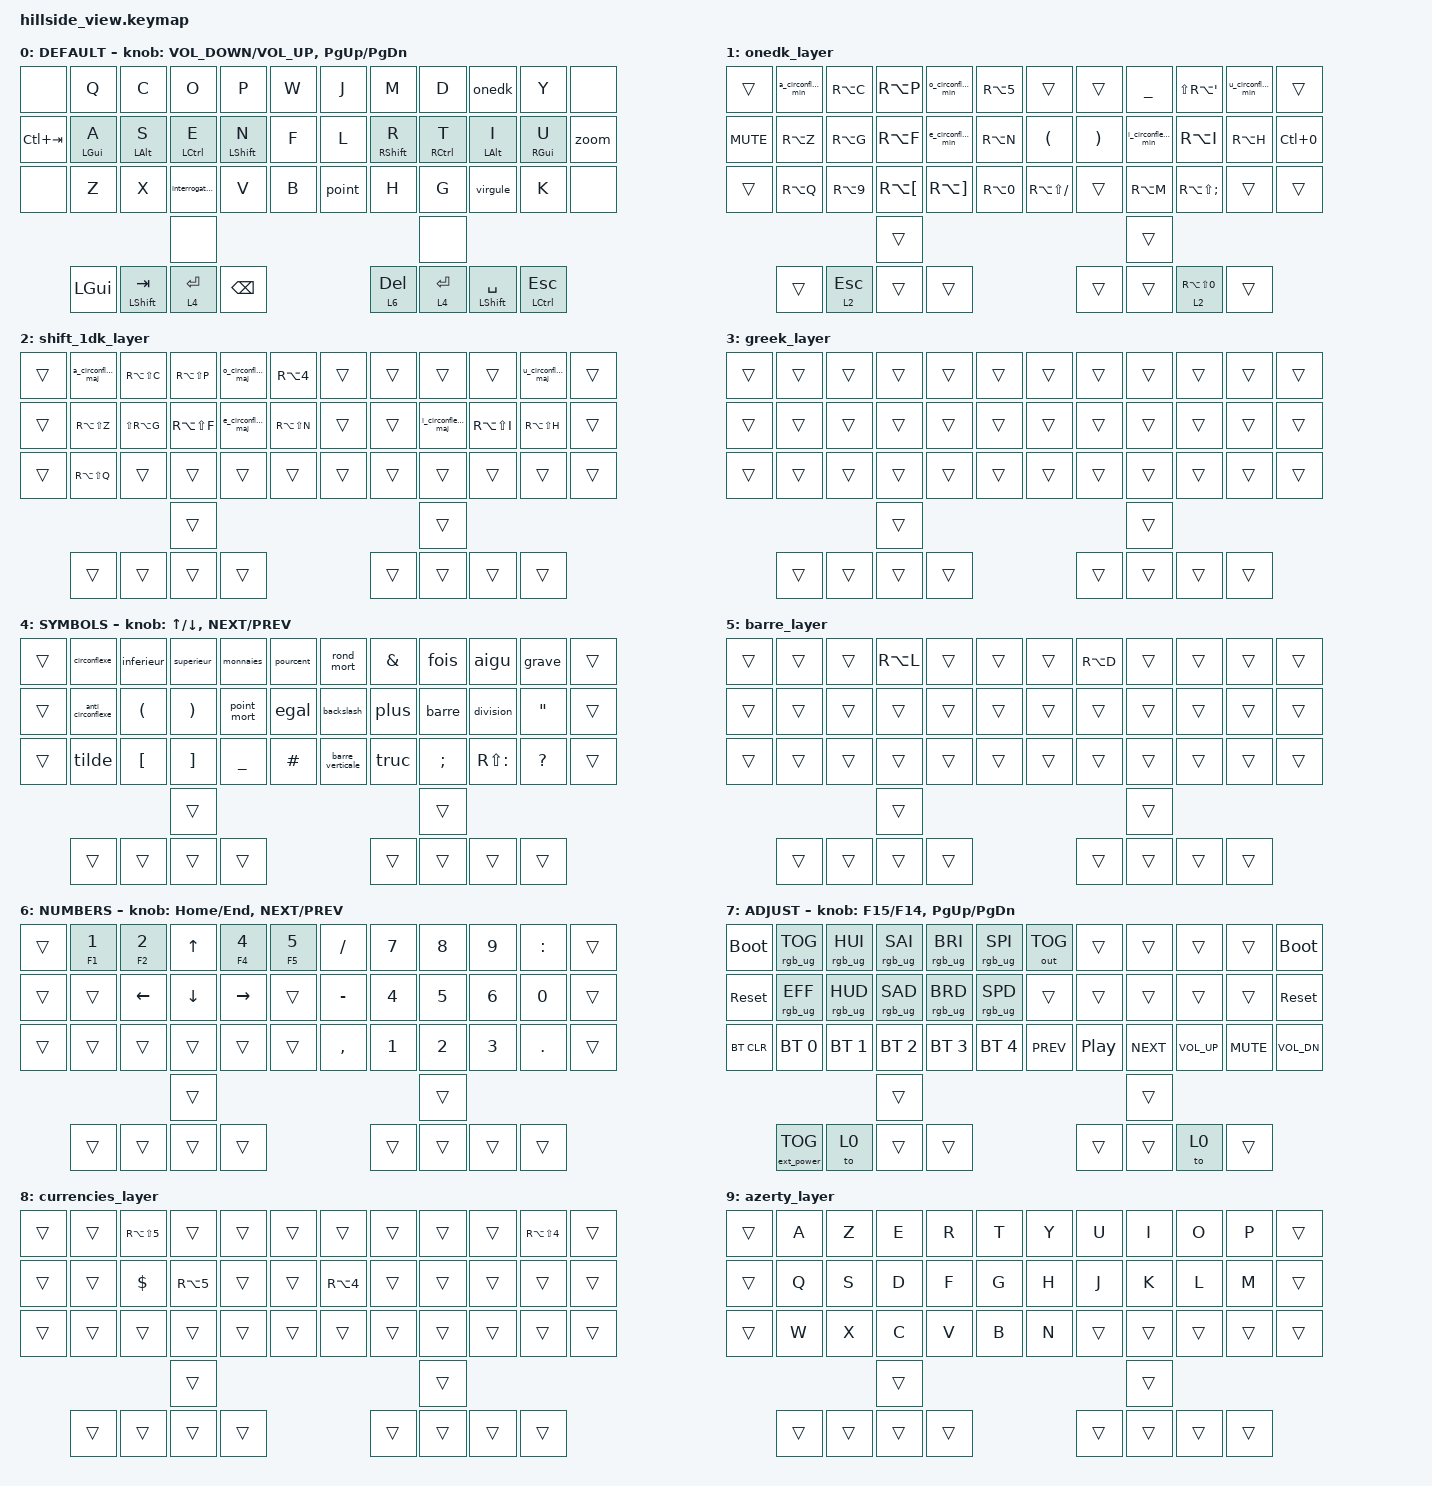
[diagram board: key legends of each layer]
#include "helper.h"
#include <behaviors.dtsi>
#include <dt-bindings/zmk/bt.h>
#include <dt-bindings/zmk/ext_power.h>
#include <dt-bindings/zmk/keys.h>
#include <dt-bindings/zmk/outputs.h>
#include <dt-bindings/zmk/rgb.h>
#include "hillside46.h"

#define QUICK_TAP_MS 175

#define KEYS_L LT0 LT1 LT2 LT3 LT4 LM0 LM1 LM2 LM3 LM4 LB0 LB1 LB2 LB3 LB4  // left hand
#define KEYS_R RT0 RT1 RT2 RT3 RT4 RM0 RM1 RM2 RM3 RM4 RB0 RB1 RB2 RB3 RB4  // right hand
#ifndef LH2
    #define THUMBS LH1 LH0 RH0 RH1                                          // thumbs on 34 keys
#else
    #define THUMBS LH2 LH1 LH0 RH0 RH1 RH2                                  // thumbs on 36+ keys
#endif

#define MAKE_HRM(NAME, HOLD, TAP, TRIGGER_POS) \
    ZMK_HOLD_TAP(NAME, \
        flavor = "balanced"; \
        tapping-term-ms = <280>; \
        quick-tap-ms = <QUICK_TAP_MS>; \
        require-prior-idle-ms = <150>; \
        bindings = <HOLD>, <TAP>; \
        hold-trigger-key-positions = <TRIGGER_POS>; \
        hold-trigger-on-release; \
    )
MAKE_HRM(hml, &kp, &kp, KEYS_R THUMBS)  // left-hand HRMs
MAKE_HRM(hmr, &kp, &kp, KEYS_L THUMBS)  // right-hand HRMs



#ifndef LB5

#define LB5 24

#endif

// Right bottom row pinky 2nd column
#ifndef RB5

#define RB5 35

#endif

#define DEF 0
#define WIN 1
#define SWP 2
#define SYM 3
#define NUM 4
#define ADJ 5

&sk {
    release-after-ms = <600>;
    quick-release;
};

/ {
    conditional_layers {
        compatible = "zmk,conditional-layers";

        tri_layer {
            if-layers = <4 6>;
            then-layer = <7>;
        };
    };

    combos {
        compatible = "zmk,combos";

        // symbols

        cb_excl {
            bindings = <&kp EXCL>;
            key-positions = <1 13>;
            timeout-ms = <30>;
        };

        cb_at {
            bindings = <&kp AT>;
            key-positions = <2 14>;
            timeout-ms = <30>;
        };

        cb_hash {
            bindings = <&kp HASH>;
            key-positions = <3 15>;
            timeout-ms = <30>;
        };

        cb_dllr {
            bindings = <&kp DLLR>;
            key-positions = <4 16>;
            timeout-ms = <30>;
        };

        cb_prcnt {
            bindings = <&kp PRCNT>;
            key-positions = <5 17>;
            timeout-ms = <30>;
        };

        cb_caret {
            bindings = <&kp CARET>;
            key-positions = <6 18>;
            timeout-ms = <30>;
        };

        cb_amps {
            bindings = <&kp AMPS>;
            key-positions = <7 19>;
            timeout-ms = <30>;
        };

        cb_mult {
            bindings = <&kp ASTERISK>;
            key-positions = <8 20>;
            timeout-ms = <30>;
        };

        cb_lparen {
            bindings = <&kp LEFT_PARENTHESIS>;
            key-positions = <9 21>;
            timeout-ms = <30>;
        };

        cb_rparen {
            bindings = <&kp RIGHT_PARENTHESIS>;
            key-positions = <10 22>;
            timeout-ms = <30>;
        };

        cb_reset {
            bindings = <&sys_reset>;
            key-positions = <2 25>;
        };

        cb_reset_right {
            bindings = <&sys_reset>;
            key-positions = <9 34>;
        };

        cb_out_ble {
            bindings = <&out OUT_BLE>;
            key-positions = <1 25>;
        };

        cb_out_usb {
            bindings = <&out OUT_USB>;
            key-positions = <2 26>;
        };

        cb_bt_nextprofile {
            bindings = <&bt BT_NXT>;
            key-positions = <3 27>;
        };

        cb_bt_clear {
            bindings = <&bt BT_CLR_ALL>;
            key-positions = <4 28>;
        };

        cb_out_ble_right {
            bindings = <&out OUT_BLE>;
            key-positions = <10 34>;
        };

        cb_out_usb_right {
            bindings = <&out OUT_USB>;
            key-positions = <9 33>;
        };

        cb_bt_nextprofile_right {
            bindings = <&bt BT_NXT>;
            key-positions = <8 32>;
        };

        cb_bt_clear_right {
            bindings = <&bt BT_CLR_ALL>;
            key-positions = <7 31>;
        };

        cb_bootloader {
            bindings = <&bootloader>;
            key-positions = <1 29>;
        };

        cb_bootloader_right {
            bindings = <&bootloader>;
            key-positions = <10 30>;
        };

        azerty {
            bindings = <&mo 9>;
            key-positions = <39 44>;
        };
    };

    behaviors {
        lt_qk: layer_toggle_quick {
            compatible = "zmk,behavior-hold-tap";
            label = "LAYER_TOGGLE_QUICK";
            #binding-cells = <2>;
            flavor = "tap-preferred";
            tapping-term-ms = <150>;
            quick-tap-ms = <QUICK_TAP_MS>;
            bindings = <&mo>, <&kp>;
        };

        mt_sk: mod_tap_sticky {
            compatible = "zmk,behavior-hold-tap";
            label = "MOD_TAP_STICKY";
            #binding-cells = <2>;
            flavor = "tap-preferred";
            tapping-term-ms = <150>;
            quick-tap-ms = <200>;
            bindings = <&sk>, <&kp>;
        };

        ht: hold_tap {
            compatible = "zmk,behavior-hold-tap";
            label = "HOLD_TAP";
            #binding-cells = <2>;
            tapping_term_ms = <200>;
            quick_tap_ms = <200>;
            flavor = "tap-preferred";
            bindings = <&kp>, <&kp>;
        };

        lswp: left_swp {
            label = "LSWAP";
            compatible = "zmk,behavior-tap-dance";
            #binding-cells = <0>;
            tapping-term-ms = <200>;
            bindings = <&sk LGUI>, <&mo 0>, <&tog 0>;
        };

        rswp: right_swap {
            compatible = "zmk,behavior-tap-dance";
            label = "RIGHT_SWAP";
            #binding-cells = <0>;
            tapping-term-ms = <200>;
            bindings = <&sk RGUI>, <&mo 0>, <&tog 0>;
        };

        interrogation: interrogation {
            compatible = "zmk,behavior-mod-morph";
            label = "INTERROGATION";
            bindings = <&kp MINUS>, <&kp QUESTION>;

            #binding-cells = <0>;
            mods = <(MOD_LSFT|MOD_RSFT)>;
        };

        virgule: virgule {
            compatible = "zmk,behavior-mod-morph";
            label = "VIRGULE";
            bindings = <&kp COMMA>, <&kp SEMI>;

            #binding-cells = <0>;
            mods = <(MOD_LSFT|MOD_RSFT)>;
        };

        point: point {
            compatible = "zmk,behavior-mod-morph";
            label = "POINT";
            bindings = <&kp PERIOD>, <&kp COLON>;

            #binding-cells = <0>;
            mods = <(MOD_LSFT|MOD_RSFT)>;
        };

        zoom: zoom {
            compatible = "zmk,behavior-mod-morph";
            label = "ZOOM";
            bindings = <&kp LC(PLUS)>, <&kp LC(MINUS)>;

            #binding-cells = <0>;
            mods = <(MOD_LSFT|MOD_RSFT)>;
        };

        circonflexe: circonflexe {
            compatible = "zmk,behavior-mod-morph";
            label = "CIRCONFLEXE";
            bindings = <&kp CARET>, <&kp RA(NUMBER_6)>;

            #binding-cells = <0>;
            mods = <(MOD_LSFT|MOD_RSFT)>;
        };

        inferieur: inferieur {
            compatible = "zmk,behavior-mod-morph";
            label = "INFERIEUR";
            bindings = <&kp LT>, <&none>;

            #binding-cells = <0>;
            mods = <(MOD_LSFT|MOD_RSFT)>;
        };

        superieur: superieur {
            compatible = "zmk,behavior-mod-morph";
            label = "SUPERIEUR";
            bindings = <&kp GREATER_THAN>, <&none>;

            #binding-cells = <0>;
            mods = <(MOD_LSFT|MOD_RSFT)>;
        };

        monnaies: monnaies {
            compatible = "zmk,behavior-mod-morph";
            label = "MONNAIES";
            bindings = <&kp DOLLAR>, <&sl 8>;

            #binding-cells = <0>;
            mods = <(MOD_LSFT|MOD_RSFT)>;
        };

        pourcent: pourcent {
            compatible = "zmk,behavior-mod-morph";
            label = "POURCENT";
            bindings = <&kp PERCENT>, <&none>;

            #binding-cells = <0>;
            mods = <(MOD_LSFT|MOD_RSFT)>;
        };

        anti_circonflexe: anti_circonflexe {
            compatible = "zmk,behavior-mod-morph";
            label = "ANTI_CIRCONFLEXE";
            bindings = <&kp LEFT_BRACE>, <&none>;

            #binding-cells = <0>;
            mods = <(MOD_LSFT|MOD_RSFT)>;
        };

        point_mort: point_mort {
            compatible = "zmk,behavior-mod-morph";
            label = "POINT_MORT";
            bindings = <&kp RIGHT_BRACE>, <&kp RA(N7)>;

            #binding-cells = <0>;
            mods = <(MOD_LSFT|MOD_RSFT)>;
        };

        egal: egal {
            compatible = "zmk,behavior-mod-morph";
            label = "EGAL";
            bindings = <&kp EQUAL>, <&none>;

            #binding-cells = <0>;
            mods = <(MOD_LSFT|MOD_RSFT)>;
        };

        tilde: tilde {
            compatible = "zmk,behavior-mod-morph";
            label = "TILDE";
            bindings = <&kp TILDE>, <&kp RA(TILDE)>;

            #binding-cells = <0>;
            mods = <(MOD_LSFT|MOD_RSFT)>;
        };

        onedk: onedk {
            compatible = "zmk,behavior-mod-morph";
            label = "ONEDK";
            bindings = <&sl 1>, <&kp EXCL>;

            #binding-cells = <0>;
            mods = <(MOD_LSFT|MOD_RSFT)>;
        };

        barre: barre {
            compatible = "zmk,behavior-mod-morph";
            label = "BARRE";
            bindings = <&kp MINUS>, <&kp RA(LS(N7))>;

            #binding-cells = <0>;
            mods = <(MOD_LSFT|MOD_RSFT)>;
        };

        grave: grave {
            compatible = "zmk,behavior-mod-morph";
            label = "GRAVE";
            bindings = <&kp GRAVE>, <&kp RA(GRAVE)>;

            #binding-cells = <0>;
            mods = <(MOD_LSFT|MOD_RSFT)>;
        };

        aigu: aigu {
            compatible = "zmk,behavior-mod-morph";
            label = "AIGU";
            bindings = <&kp SQT>, <&kp RA(SINGLE_QUOTE)>;

            #binding-cells = <0>;
            mods = <(MOD_LSFT|MOD_RSFT)>;
        };

        fois: fois {
            compatible = "zmk,behavior-mod-morph";
            label = "FOIS";
            bindings = <&kp ASTERISK>, <&kp RA(EQUAL)>;

            #binding-cells = <0>;
            mods = <(MOD_LSFT|MOD_RSFT)>;
        };

        division: division {
            compatible = "zmk,behavior-mod-morph";
            label = "DIVISION";
            bindings = <&kp SLASH>, <&kp RA(LS(EQUAL))>;

            #binding-cells = <0>;
            mods = <(MOD_LSFT|MOD_RSFT)>;
        };

        rond_mort: rond_mort {
            compatible = "zmk,behavior-mod-morph";
            label = "ROND_MORT";
            bindings = <&kp AT>, <&kp RA(N7)>;

            #binding-cells = <0>;
            mods = <(MOD_LSFT|MOD_RSFT)>;
        };

        barre_verticale: barre_verticale {
            compatible = "zmk,behavior-mod-morph";
            label = "BARRE_VERTICALE";
            bindings = <&kp LS(BACKSLASH)>, <&kp RA(LS(BACKSLASH))>;

            #binding-cells = <0>;
            mods = <(MOD_LSFT|MOD_RSFT)>;
        };

        truc: truc {
            compatible = "zmk,behavior-mod-morph";
            label = "TRUC";
            bindings = <&kp EXCLAMATION>, <&kp RA(BACKSLASH)>;

            #binding-cells = <0>;
            mods = <(MOD_LSFT|MOD_RSFT)>;
        };

        plus: plus {
            compatible = "zmk,behavior-mod-morph";
            label = "PLUS";
            bindings = <&kp PLUS>, <&none>;

            #binding-cells = <0>;
            mods = <(MOD_LSFT|MOD_RSFT)>;
        };

        backslash: backslash {
            compatible = "zmk,behavior-mod-morph";
            label = "BACKSLASH";
            bindings = <&kp BACKSLASH>, <&sl 5>;

            #binding-cells = <0>;
            mods = <(MOD_LSFT|MOD_RSFT)>;
        };

        backspace: backspace {
            compatible = "zmk,behavior-mod-morph";
            label = "BACKSPACE";
            bindings = <&kp LC(BACKSPACE)>, <&kp BACKSPACE>;

            #binding-cells = <0>;
            mods = <(MOD_LCTL)>;
        };
    };

    macros {
        e_circonflexe_min: e_circonflexe_min {
            compatible = "zmk,behavior-macro";
            #binding-cells = <0>;
            bindings =
                <&macro_press>,
                <&kp RALT>,
                <&macro_tap>,
                <&kp NUMBER_6>,
                <&macro_release>,
                <&kp RALT>,
                <&macro_tap>,
                <&kp E>;

            label = "E_CIRCONFLEXE_MIN";
        };

        e_circonflexe_maj: e_circonflexe_maj {
            compatible = "zmk,behavior-macro";
            #binding-cells = <0>;
            bindings =
                <&macro_press>,
                <&kp RALT>,
                <&macro_tap>,
                <&kp NUMBER_6>,
                <&macro_release>,
                <&kp RALT>,
                <&macro_tap>,
                <&kp LS(E)>;

            label = "E_CIRCONFLEXE_MAJ";
        };

        u_circonflexe_maj: u_circonflexe_maj {
            compatible = "zmk,behavior-macro";
            #binding-cells = <0>;
            bindings =
                <&macro_press>,
                <&kp RALT>,
                <&macro_tap>,
                <&kp NUMBER_6>,
                <&macro_release>,
                <&kp RALT>,
                <&macro_tap>,
                <&kp LS(U)>;

            label = "U_CIRCONFLEXE_MAJ";
        };

        u_circonflexe_min: u_circonflexe_min {
            compatible = "zmk,behavior-macro";
            #binding-cells = <0>;
            bindings =
                <&macro_press>,
                <&kp RALT>,
                <&macro_tap>,
                <&kp NUMBER_6>,
                <&macro_release>,
                <&kp RALT>,
                <&macro_tap>,
                <&kp U>;

            label = "U_CIRCONFLEXE_MIN";
        };

        i_circonflexe_min: i_circonflexe_min {
            compatible = "zmk,behavior-macro";
            #binding-cells = <0>;
            bindings =
                <&macro_press>,
                <&kp RALT>,
                <&macro_tap>,
                <&kp NUMBER_6>,
                <&macro_release>,
                <&kp RALT>,
                <&macro_tap>,
                <&kp I>;

            label = "I_CIRCONFLEXE_MIN";
        };

        i_circonflexe_maj: i_circonflexe_maj {
            compatible = "zmk,behavior-macro";
            #binding-cells = <0>;
            bindings =
                <&macro_press>,
                <&kp RALT>,
                <&macro_tap>,
                <&kp NUMBER_6>,
                <&macro_release>,
                <&kp RALT>,
                <&macro_tap>,
                <&kp LS(I)>;

            label = "I_CIRCONFLEXE_MAJ";
        };

        a_circonflexe_maj: a_circonflexe_maj {
            compatible = "zmk,behavior-macro";
            #binding-cells = <0>;
            bindings =
                <&macro_press>,
                <&kp RALT>,
                <&macro_tap>,
                <&kp NUMBER_6>,
                <&macro_release>,
                <&kp RALT>,
                <&macro_tap>,
                <&kp LS(A)>;

            label = "A_CIRCONFLEXE_MAJ";
        };

        a_circonflexe_min: a_circonflexe_min {
            compatible = "zmk,behavior-macro";
            #binding-cells = <0>;
            bindings =
                <&macro_press>,
                <&kp RALT>,
                <&macro_tap>,
                <&kp NUMBER_6>,
                <&macro_release>,
                <&kp RALT>,
                <&macro_tap>,
                <&kp A>;

            label = "A_CIRCONFLEXE_MIN";
        };

        o_circonflexe_min: o_circonflexe_min {
            compatible = "zmk,behavior-macro";
            #binding-cells = <0>;
            bindings =
                <&macro_press>,
                <&kp RALT>,
                <&macro_tap>,
                <&kp NUMBER_6>,
                <&macro_release>,
                <&kp RALT>,
                <&macro_tap>,
                <&kp O>;

            label = "O_CIRCONFLEXE_MIN";
        };

        o_circonflexe_maj: o_circonflexe_maj {
            compatible = "zmk,behavior-macro";
            #binding-cells = <0>;
            bindings =
                <&macro_press>,
                <&kp RALT>,
                <&macro_tap>,
                <&kp NUMBER_6>,
                <&macro_release>,
                <&kp RALT>,
                <&macro_tap>,
                <&kp LS(O)>;

            label = "O_CIRCONFLEXE_MAJ";
        };
    };

    keymap {
        compatible = "zmk,keymap";

        default_layer {
            label = "DEFAULT";
            bindings = <
&none        &kp Q           &kp C             &kp O           &kp P                     &kp W      &kp J   &kp M                      &kp D          &onedk            &kp Y              &none
&kp LC(TAB)  &hml LEFT_GUI A  &hml LEFT_ALT S  &hml LCTRL E   &hml LEFT_SHIFT N  &kp F      &kp L   &hmr RIGHT_SHIFT R  &hmr RCTRL T  &hmr LEFT_ALT I  &hmr RIGHT_GUI U  &zoom
&none        &kp Z           &kp X             &interrogation  &kp V                     &kp B      &point  &kp H                      &kp G          &virgule          &kp K              &none
                                               &none                                                                                   &none
             &kp LEFT_GUI    &mt LSHIFT TAB    &lt 4 ENTER     &kp BACKSPACE                                   &lt 6 DEL                  &lt 4 ENTER    &mt LSHFT SPACE   &mt LCTRL ESCAPE
            >;

            sensor-bindings =
                <&inc_dec_kp C_VOLUME_DOWN C_VOLUME_UP>,
                <&inc_dec_kp PG_UP PG_DN>;
        };

        onedk_layer {
            bindings = <
&trans      &a_circonflexe_min  &kp RA(C)     &kp RA(P)             &o_circonflexe_min     &kp RA(N5)      &trans             &trans    &kp UNDER           &kp LS(RA(SQT))        &u_circonflexe_min  &trans
&kp C_MUTE  &kp RA(Z)           &kp RA(G)     &kp RA(F)             &e_circonflexe_min     &kp RA(N)       &kp LPAR           &kp RPAR  &i_circonflexe_min  &kp RA(I)              &kp RA(H)           &kp LC(N0)
&trans      &kp RA(Q)           &kp RA(N9)    &kp RA(LEFT_BRACKET)  &kp RA(RIGHT_BRACKET)  &kp RA(N0)      &kp RA(LS(SLASH))  &trans    &kp RA(M)           &kp RA(LS(SEMICOLON))  &trans              &trans
                                              &trans                                                                                    &trans
            &trans              &lt 2 ESCAPE  &trans                &trans                                                    &trans    &trans              &lt 2 RA(LS(N0))       &trans
            >;
        };

        shift_1dk_layer {
            bindings = <
&trans  &a_circonflexe_maj  &kp RA(LS(C))  &kp RA(LS(P))  &o_circonflexe_maj  &kp RA(NUMBER_4)      &trans  &trans  &trans              &trans         &u_circonflexe_maj  &trans
&trans  &kp RA(LS(Z))       &kp LS(RA(G))  &kp RA(LS(F))  &e_circonflexe_maj  &kp RA(LS(N))         &trans  &trans  &i_circonflexe_maj  &kp RA(LS(I))  &kp RA(LS(H))       &trans
&trans  &kp RA(LS(Q))       &trans         &trans         &trans              &trans                &trans  &trans  &trans              &trans         &trans              &trans
                                           &trans                                                                   &trans
        &trans              &trans         &trans         &trans                                            &trans  &trans              &trans         &trans
            >;
        };

        greek_layer {
            bindings = <
&trans  &trans  &trans  &trans  &trans  &trans      &trans  &trans  &trans  &trans  &trans  &trans
&trans  &trans  &trans  &trans  &trans  &trans      &trans  &trans  &trans  &trans  &trans  &trans
&trans  &trans  &trans  &trans  &trans  &trans      &trans  &trans  &trans  &trans  &trans  &trans
                        &trans                                      &trans
        &trans  &trans  &trans  &trans                      &trans  &trans  &trans  &trans
            >;
        };

        sym_layer {
            label = "SYMBOLS";
            bindings = <
&trans  &circonflexe       &inferieur            &superieur             &monnaies    &pourcent      &rond_mort        &kp AMPS  &fois          &aigu          &grave             &trans
&trans  &anti_circonflexe  &kp LEFT_PARENTHESIS  &kp RIGHT_PARENTHESIS  &point_mort  &egal          &backslash        &plus     &barre         &division      &kp DOUBLE_QUOTES  &trans
&trans  &tilde             &kp LEFT_BRACKET      &kp RIGHT_BRACKET      &kp UNDER    &kp HASH       &barre_verticale  &truc     &kp SEMICOLON  &kp RS(COLON)  &kp QUESTION       &trans
                                                 &trans                                                                         &trans
        &trans             &trans                &trans                 &trans                                        &trans    &trans         &trans         &trans
            >;

            sensor-bindings = <&inc_dec_kp UP DOWN &inc_dec_kp C_NEXT C_PREV>;
        };

        barre_layer {
            bindings = <
&trans  &trans  &trans  &kp RA(L)  &trans  &trans      &trans  &kp RA(D)  &trans  &trans  &trans  &trans
&trans  &trans  &trans  &trans     &trans  &trans      &trans  &trans     &trans  &trans  &trans  &trans
&trans  &trans  &trans  &trans     &trans  &trans      &trans  &trans     &trans  &trans  &trans  &trans
                        &trans                                            &trans
        &trans  &trans  &trans     &trans                      &trans     &trans  &trans  &trans
            >;
        };

        num_layer {
            label = "NUMBERS";
            bindings = <
&trans  &ht F1 N1  &ht F2 N2  &kp UP_ARROW    &ht F4 N4  &ht F5 N5      &kp SLASH  &kp N7        &kp N8        &kp N9        &kp COLON  &trans
&trans  &trans     &kp LEFT   &kp DOWN_ARROW  &kp RIGHT  &trans         &kp MINUS  &kp NUMBER_4  &kp N5        &kp NUMBER_6  &kp N0     &trans
&trans  &trans     &trans     &trans          &trans     &trans         &kp COMMA  &kp NUMBER_1  &kp NUMBER_2  &kp NUMBER_3  &kp DOT    &trans
                              &trans                                                             &trans
        &trans     &trans     &trans          &trans                               &trans        &trans        &trans        &trans
            >;

            sensor-bindings = <&inc_dec_kp HOME END &inc_dec_kp C_NEXT C_PREV>;
        };

        adj_layer {
            label = "ADJUST";
            bindings = <
&bootloader  &rgb_ug RGB_TOG    &rgb_ug RGB_HUI  &rgb_ug RGB_SAI  &rgb_ug RGB_BRI  &rgb_ug RGB_SPI      &out OUT_TOG  &trans    &trans      &trans        &trans      &bootloader
&sys_reset   &rgb_ug RGB_EFF    &rgb_ug RGB_HUD  &rgb_ug RGB_SAD  &rgb_ug RGB_BRD  &rgb_ug RGB_SPD      &trans        &trans    &trans      &trans        &trans      &sys_reset
&bt BT_CLR   &bt BT_SEL 0       &bt BT_SEL 1     &bt BT_SEL 2     &bt BT_SEL 3     &bt BT_SEL 4         &kp C_PREV    &kp C_PP  &kp C_NEXT  &kp C_VOL_UP  &kp C_MUTE  &kp C_VOL_DN
                                                 &trans                                                                         &trans
             &ext_power EP_TOG  &to 0            &trans           &trans                                              &trans    &trans      &to 0         &trans
            >;

            // F15 and F14 are brightness controls for macOS

            sensor-bindings = <&inc_dec_kp F15 F14 &inc_dec_kp PG_UP PG_DN>;
        };

        currencies_layer {
            bindings = <
&trans  &trans  &kp RA(LS(N5))  &trans      &trans  &trans      &trans            &trans  &trans  &trans  &kp RA(LS(NUMBER_4))  &trans
&trans  &trans  &kp DOLLAR      &kp RA(N5)  &trans  &trans      &kp RA(NUMBER_4)  &trans  &trans  &trans  &trans                &trans
&trans  &trans  &trans          &trans      &trans  &trans      &trans            &trans  &trans  &trans  &trans                &trans
                                &trans                                                    &trans
        &trans  &trans          &trans      &trans                                &trans  &trans  &trans  &trans
            >;
        };

        azerty_layer {
            bindings = <
&trans  &kp A   &kp Z   &kp E   &kp R   &kp T      &kp Y  &kp U   &kp I   &kp O   &kp P   &trans
&trans  &kp Q   &kp S   &kp D   &kp F   &kp G      &kp H  &kp J   &kp K   &kp L   &kp M   &trans
&trans  &kp W   &kp X   &kp C   &kp V   &kp B      &kp N  &trans  &trans  &trans  &trans  &trans
                        &trans                                    &trans
        &trans  &trans  &trans  &trans                    &trans  &trans  &trans  &trans
            >;
        };
    };
};
